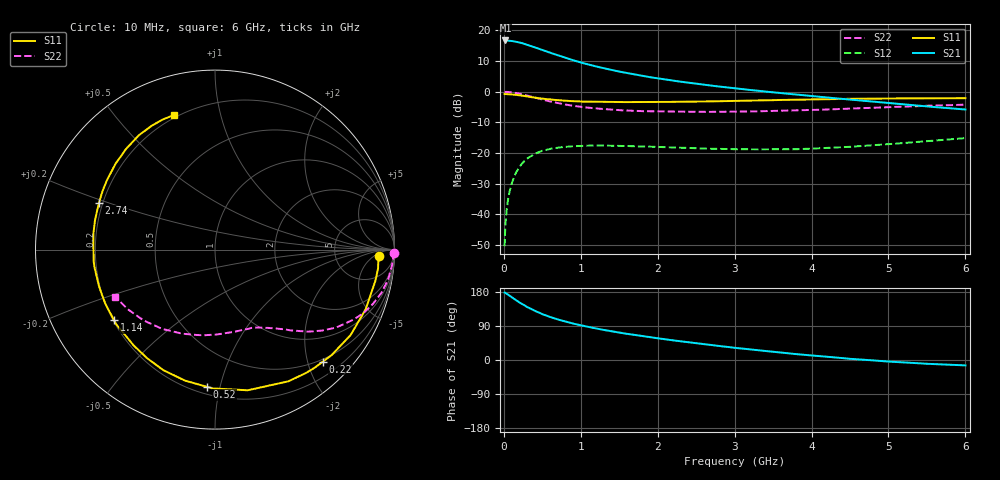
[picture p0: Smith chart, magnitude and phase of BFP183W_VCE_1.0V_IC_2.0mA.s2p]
! Infineon Technologies  Discrete & RF Semiconductors
! BFP183W
! VCE = 1.0 V,  IC =  2.0 mA
! Common Emitter S-Parameters:  Jan 2016
# GHz  S  MA  R  50
!  f  S11  S21  S12  S22
! GHz  MAG  ANG  MAG  ANG  MAG  ANG  MAG  ANG
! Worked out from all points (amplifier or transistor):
!   210 points, 10 MHz to 6 GHz, reference 50 ohm
!   highest |S21| = 16.7 dB at 20 MHz (marker M1)
!   |S21| within 3 dB of that: start of sweep to 487.7 MHz
!   unconditionally stable (mu >= 1): 2.293 GHz to end of sweep
!   at 185 MHz: K = 0.10, MSG = 20.7 dB, |S12| = -25.3 dB
!   at 1.52 GHz: K = 0.68, MSG = 12.1 dB, |S12| = -17.7 dB
!   at 6 GHz: K = 1.15, MAG = 2.3 dB, |S12| = -15.2 dB
!   S11 on the Smith chart (normalised r, x): 10 MHz: 19, -9; 220 MHz: 0.45, -2.27; 520 MHz: 0.25, -0.91; 1.14 GHz: 0.20, -0.30; 2.74 GHz: 0.19, +0.19; 6 GHz: 0.19, +0.72
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0.01  0.916 -2.3  6.812 178.0  0.003 86.8  0.9969 -1.0
0.02  0.9123 -4.5  6.867 177.3  0.0064 85.4  0.99 -2.0
0.045  0.911 -9.9  6.845 173.7  0.0142 84.4  0.9911 -4.5
0.085  0.9018 -18.4  6.757 168.1  0.0264 78.5  0.9812 -8.4
0.15  0.8931 -32.2  6.6 158.8  0.0453 71.6  0.9579 -14.6
0.22  0.8664 -46.1  6.279 149.9  0.0631 63.6  0.9185 -20.5
0.3  0.8403 -60.8  5.854 140.2  0.0804 55.8  0.868 -26.5
0.4  0.8047 -76.9  5.327 130.1  0.0964 47.4  0.8032 -32.7
0.52  0.766 -93.3  4.705 119.6  0.11 39.4  0.7348 -38.0
0.6  0.7489 -102.9  4.338 113.6  0.1164 34.9  0.6935 -41.2
0.72  0.7259 -114.9  3.865 105.9  0.1228 29.6  0.6449 -44.6
0.86  0.704 -126.9  3.386 98.2  0.1276 24.6  0.5993 -48.1
1.02  0.6903 -137.9  2.951 90.7  0.1306 19.8  0.5623 -51.6
1.14  0.6861 -145.2  2.702 85.6  0.1317 17.0  0.5416 -53.9
1.32  0.6804 -154.8  2.385 78.6  0.1319 13.7  0.5183 -57.1
1.58  0.6763 -166.3  2.041 69.7  0.1299 10.7  0.4937 -61.5
2.02  0.6783 178.0  1.638 56.7  0.1253 7.7  0.4748 -69.3
2.74  0.6964 158.1  1.237 38.4  0.117 8.2  0.4691 -83.3
3.1  0.7108 149.6  1.099 30.1  0.1148 10.1  0.474 -91.0
4.1  0.7506 130.0  0.825 10.3  0.1191 19.2  0.5072 -114.2
5.1  0.7757 116.0  0.635 -5.2  0.1419 26.3  0.5647 -137.5
6  0.7842 107.0  0.512 -14.2  0.1745 27.9  0.6147 -154.7
